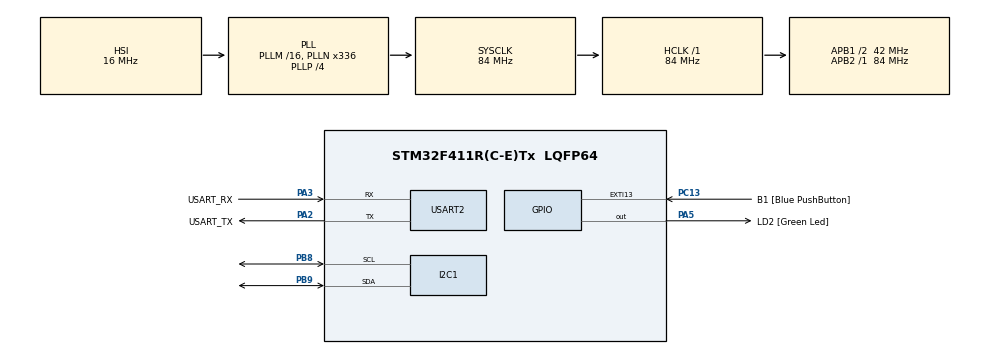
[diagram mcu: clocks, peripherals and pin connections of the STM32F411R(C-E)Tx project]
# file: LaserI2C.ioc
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I2C1.I2C_Mode=I2C_Fast
Mcu.Family=STM32F4
Mcu.Name=STM32F411R(C-E)Tx
Mcu.Package=LQFP64
NVIC.I2C1_ER_IRQn=true\:0\:0\:false\:false\:true\:true\:true\:true
NVIC.I2C1_EV_IRQn=true\:0\:0\:false\:false\:true\:true\:true\:true
NVIC.PriorityGroup=NVIC_PRIORITYGROUP_0
PA13.GPIO_Label=TMS
PA13.Mode=Serial_Wire
PA13.Signal=SYS_JTMS-SWDIO
PA14.GPIO_Label=TCK
PA14.Mode=Serial_Wire
PA14.Signal=SYS_JTCK-SWCLK
PA2.GPIO_Label=USART_TX
PA2.Mode=Asynchronous
PA2.Signal=USART2_TX
PA3.GPIO_Label=USART_RX
PA3.Mode=Asynchronous
PA3.Signal=USART2_RX
PA5.GPIO_Label=LD2 [Green Led]
PA5.Signal=GPIO_Output
PB3.GPIO_Label=SWO
PB3.Signal=SYS_JTDO-SWO
PB8.GPIO_Pu=GPIO_PULLUP
PB8.Mode=I2C
PB8.Signal=I2C1_SCL
PB9.GPIO_Pu=GPIO_PULLUP
PB9.Mode=I2C
PB9.Signal=I2C1_SDA
PC13-ANTI_TAMP.GPIO_Label=B1 [Blue PushButton]
PC13-ANTI_TAMP.GPIO_ModeDefaultEXTI=GPIO_MODE_IT_FALLING
PC13-ANTI_TAMP.Signal=GPXTI13
PC14-OSC32_IN.Mode=LSE-External-Oscillator
PC14-OSC32_IN.Signal=RCC_OSC32_IN
PC15-OSC32_OUT.Mode=LSE-External-Oscillator
PC15-OSC32_OUT.Signal=RCC_OSC32_OUT
PH0\ -\ OSC_IN.Mode=HSE-External-Clock-Source
PH0\ -\ OSC_IN.Signal=RCC_OSC_IN
PH1\ -\ OSC_OUT.Mode=HSE-External-Clock-Source
PH1\ -\ OSC_OUT.Signal=RCC_OSC_OUT
ProjectManager.HeapSize=0x200
ProjectManager.StackSize=0x400
ProjectManager.TargetToolchain=STM32CubeIDE
RCC.48MHZClocksFreq_Value=84000000
RCC.AHBFreq_Value=84000000
RCC.APB1CLKDivider=RCC_HCLK_DIV2
RCC.APB1Freq_Value=42000000
RCC.APB1TimFreq_Value=84000000
RCC.APB2Freq_Value=84000000
RCC.APB2TimFreq_Value=84000000
RCC.CortexFreq_Value=84000000
RCC.FLatency-AdvancedSettings=FLASH_LATENCY_2
RCC.HCLKFreq_Value=84000000
RCC.HSE_VALUE=8000000
RCC.HSI_VALUE=16000000
RCC.PLLN=336
RCC.PLLP=RCC_PLLP_DIV4
RCC.SYSCLKFreq_VALUE=84000000
RCC.SYSCLKSource=RCC_SYSCLKSOURCE_PLLCLK
RCC.VCOOutputFreq_Value=336000000
USART2.VirtualMode=VM_ASYNC
board=NUCLEO-F411RE

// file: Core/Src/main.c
/* USER CODE BEGIN Header */
/**
  ******************************************************************************
  * @file           : main.c
  * @brief          : Main program body
  ******************************************************************************
  * @attention
  *
  * Copyright (c) 2022 STMicroelectronics.
  * All rights reserved.
  *
  * This software is licensed under terms that can be found in the LICENSE file
  * in the root directory of this software component.
  * If no LICENSE file comes with this software, it is provided AS-IS.
  *
  ******************************************************************************
  */
/* USER CODE END Header */
#include "main.h"
#include "string.h"

/* USER CODE BEGIN PD */

#define LASERADDR 0x23<<1

/* USER CODE END PD */

 I2C_HandleTypeDef hi2c1;

UART_HandleTypeDef huart2;

/* USER CODE BEGIN PV */

uint8_t triggerVal = 0;
uint8_t triggerVal2 = 2;
uint8_t laserStatus = 0x78;
uint64_t timestamp = 0;
uint8_t counter = 0;

static enum {
	Idle_Activate,
	sendOpenCommand,
	Wait_Activate,
	Reading
} ActivateState = Idle_Activate;

static enum{
	Idle_Read,
	Preparing,
	Read,
	Wait_Read
} ReadState[2] = {Wait_Read, Idle_Read};

/* USER CODE END PV */

void SystemClock_Config(void);
static void MX_GPIO_Init(void);
static void MX_USART2_UART_Init(void);
static void MX_I2C1_Init(void);
/* USER CODE BEGIN PFP */

void activateLaser(uint8_t, uint8_t *);
void readStatus(uint8_t, uint8_t*, uint8_t*);

/* USER CODE END PFP */

int main(void)
{

  /* MCU Configuration--------------------------------------------------------*/

  /* Reset of all peripherals, Initializes the Flash interface and the Systick. */
  HAL_Init();

  /* Configure the system clock */
  SystemClock_Config();

  /* Initialize all configured peripherals */
  MX_GPIO_Init();
  MX_USART2_UART_Init();
  MX_I2C1_Init();

  /* Infinite loop */
  /* USER CODE BEGIN WHILE */
  while (1)
  {
	  activateLaser(0x45, &triggerVal);
//	  readStatus(0x23, &laserStatus, &triggerVal);
//	  if(triggerVal == 1 && hi2c1.State == HAL_I2C_STATE_READY)
//	  {
//		  HAL_I2C_Master_Transmit(&hi2c1, LASERADDR, &addr, 1, 1000);
//		  triggerVal = 0;
//	  }

    /* USER CODE END WHILE */

  }
}

void SystemClock_Config(void)
{
  RCC_OscInitTypeDef RCC_OscInitStruct = {0};
  RCC_ClkInitTypeDef RCC_ClkInitStruct = {0};

  /** Configure the main internal regulator output voltage
  */
  __HAL_RCC_PWR_CLK_ENABLE();
  __HAL_PWR_VOLTAGESCALING_CONFIG(PWR_REGULATOR_VOLTAGE_SCALE1);

  /** Initializes the RCC Oscillators according to the specified parameters
  * in the RCC_OscInitTypeDef structure.
  */
  RCC_OscInitStruct.OscillatorType = RCC_OSCILLATORTYPE_HSI;
  RCC_OscInitStruct.HSIState = RCC_HSI_ON;
  RCC_OscInitStruct.HSICalibrationValue = RCC_HSICALIBRATION_DEFAULT;
  RCC_OscInitStruct.PLL.PLLState = RCC_PLL_ON;
  RCC_OscInitStruct.PLL.PLLSource = RCC_PLLSOURCE_HSI;
  RCC_OscInitStruct.PLL.PLLM = 16;
  RCC_OscInitStruct.PLL.PLLN = 336;
  RCC_OscInitStruct.PLL.PLLP = RCC_PLLP_DIV4;
  RCC_OscInitStruct.PLL.PLLQ = 4;
  if (HAL_RCC_OscConfig(&RCC_OscInitStruct) != HAL_OK)
  {
    Error_Handler();
  }

  /** Initializes the CPU, AHB and APB buses clocks
  */
  RCC_ClkInitStruct.ClockType = RCC_CLOCKTYPE_HCLK|RCC_CLOCKTYPE_SYSCLK
                              |RCC_CLOCKTYPE_PCLK1|RCC_CLOCKTYPE_PCLK2;
  RCC_ClkInitStruct.SYSCLKSource = RCC_SYSCLKSOURCE_PLLCLK;
  RCC_ClkInitStruct.AHBCLKDivider = RCC_SYSCLK_DIV1;
  RCC_ClkInitStruct.APB1CLKDivider = RCC_HCLK_DIV2;
  RCC_ClkInitStruct.APB2CLKDivider = RCC_HCLK_DIV1;

  if (HAL_RCC_ClockConfig(&RCC_ClkInitStruct, FLASH_LATENCY_2) != HAL_OK)
  {
    Error_Handler();
  }
}

static void MX_I2C1_Init(void)
{

  hi2c1.Instance = I2C1;
  hi2c1.Init.ClockSpeed = 400000;
  hi2c1.Init.DutyCycle = I2C_DUTYCYCLE_2;
  hi2c1.Init.OwnAddress1 = 0;
  hi2c1.Init.AddressingMode = I2C_ADDRESSINGMODE_7BIT;
  hi2c1.Init.DualAddressMode = I2C_DUALADDRESS_DISABLE;
  hi2c1.Init.OwnAddress2 = 0;
  hi2c1.Init.GeneralCallMode = I2C_GENERALCALL_DISABLE;
  hi2c1.Init.NoStretchMode = I2C_NOSTRETCH_DISABLE;
  if (HAL_I2C_Init(&hi2c1) != HAL_OK)
  {
    Error_Handler();
  }

}

static void MX_USART2_UART_Init(void)
{

  huart2.Instance = USART2;
  huart2.Init.BaudRate = 115200;
  huart2.Init.WordLength = UART_WORDLENGTH_8B;
  huart2.Init.StopBits = UART_STOPBITS_1;
  huart2.Init.Parity = UART_PARITY_NONE;
  huart2.Init.Mode = UART_MODE_TX_RX;
  huart2.Init.HwFlowCtl = UART_HWCONTROL_NONE;
  huart2.Init.OverSampling = UART_OVERSAMPLING_16;
  if (HAL_UART_Init(&huart2) != HAL_OK)
  {
    Error_Handler();
  }

}

static void MX_GPIO_Init(void)
{
  GPIO_InitTypeDef GPIO_InitStruct = {0};

  /* GPIO Ports Clock Enable */
  __HAL_RCC_GPIOC_CLK_ENABLE();
  __HAL_RCC_GPIOH_CLK_ENABLE();
  __HAL_RCC_GPIOA_CLK_ENABLE();
  __HAL_RCC_GPIOB_CLK_ENABLE();

  /*Configure GPIO pin Output Level */
  HAL_GPIO_WritePin(LD2_GPIO_Port, LD2_Pin, GPIO_PIN_RESET);

  /*Configure GPIO pin : B1_Pin */
  GPIO_InitStruct.Pin = B1_Pin;
  GPIO_InitStruct.Mode = GPIO_MODE_IT_FALLING;
  GPIO_InitStruct.Pull = GPIO_NOPULL;
  HAL_GPIO_Init(B1_GPIO_Port, &GPIO_InitStruct);

  /*Configure GPIO pin : LD2_Pin */
  GPIO_InitStruct.Pin = LD2_Pin;
  GPIO_InitStruct.Mode = GPIO_MODE_OUTPUT_PP;
  GPIO_InitStruct.Pull = GPIO_NOPULL;
  GPIO_InitStruct.Speed = GPIO_SPEED_FREQ_LOW;
  HAL_GPIO_Init(LD2_GPIO_Port, &GPIO_InitStruct);

}

/* USER CODE BEGIN 4 */

void activateLaser(uint8_t REGIS, uint8_t *trigger){
	switch(ActivateState){
	case Idle_Activate:
		if(*trigger == 1){
			ActivateState = sendOpenCommand;
		}
		break;

	case sendOpenCommand:{
		static uint8_t regis;
		regis = REGIS;
		HAL_I2C_Master_Transmit_IT(&hi2c1, LASERADDR, &regis, 1);
		ActivateState = Wait_Activate;
		}

		break;

	case Wait_Activate:
		if(hi2c1.State == HAL_I2C_STATE_READY){
			ActivateState = Idle_Activate;
			*trigger = 0;

			timestamp = HAL_GetTick();
			ActivateState = Reading;
		}
		break;

	case Reading:
		readStatus(0x23, &laserStatus, &triggerVal2);
		if(HAL_GetTick() - timestamp > 5000){
			ActivateState = Idle_Activate;
		}

		break;

	}
}

void readStatus(uint8_t REGIS, uint8_t* ReadStatus, uint8_t* trigger){
	switch(ReadState[1]){
	case Idle_Read:
		if(*trigger = 2){
			ReadState[0] = ReadState[1];
			ReadState[1] = Preparing;
		}

		break;

	case Preparing:{
		static uint8_t regis1;
		regis1 = REGIS;
		HAL_I2C_Master_Seq_Transmit_IT(&hi2c1, LASERADDR, &regis1, 1, I2C_FIRST_FRAME);
		ReadState[0] = ReadState[1];
		ReadState[1] = Wait_Read;
		}
		break;

	case Read:
		HAL_I2C_Master_Seq_Receive_IT(&hi2c1, LASERADDR, ReadStatus, 1, I2C_LAST_FRAME);
		ReadState[0] = ReadState[1];
		ReadState[1] = Wait_Read;
		break;

	case Wait_Read:
		if(hi2c1.State == HAL_I2C_STATE_READY){
			if(ReadState[0] == Preparing){
				ReadState[0] = ReadState[1];
				ReadState[1] = Read;
			}
			else{
				ReadState[0] = ReadState[1];
				ReadState[1] = Idle_Read;
				*trigger = 0;
			}
		}

		break;
	}
}

/* USER CODE END 4 */

void Error_Handler(void)
{
  __disable_irq();
  while (1)
  {
  }
}
